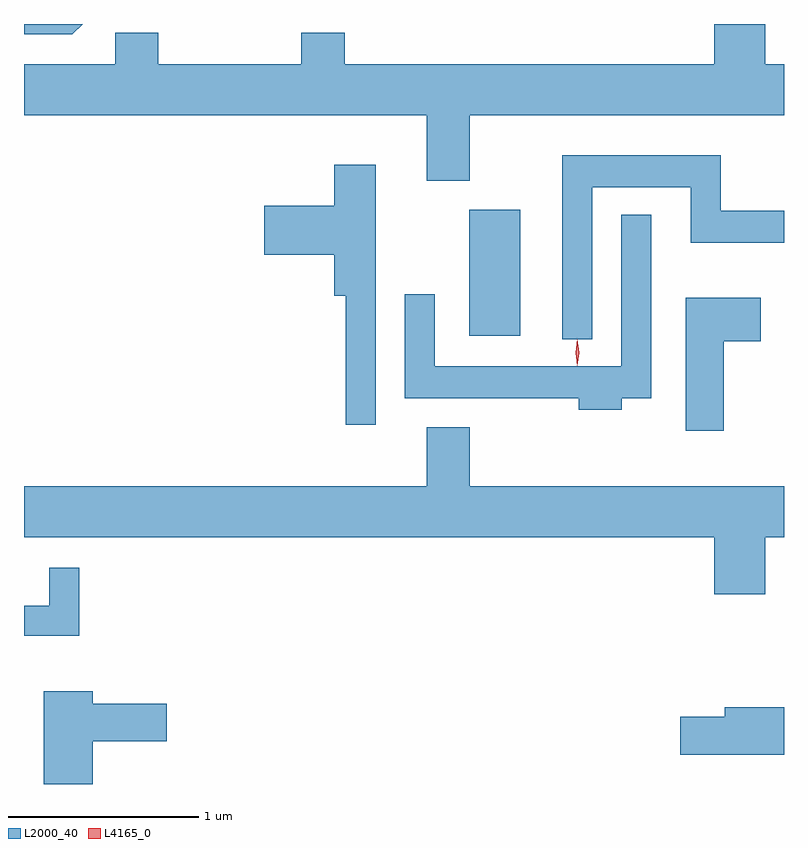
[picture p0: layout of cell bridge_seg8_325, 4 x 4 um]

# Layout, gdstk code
import gdstk
lib = gdstk.Library(unit=1e-6, precision=1e-09)
def R(c, l, rs):  # rectangles x0, y0, x1, y1
    for r in rs: c.add(gdstk.rectangle(r[:2], r[2:], *l))
def P(c, l, *ps):  # polygons
    for p in ps: c.add(gdstk.Polygon(p, *l))
L2000_40 = (2000, 40)
L4165_0 = (4165, 0)

bridge_seg8_325 = lib.new_cell('bridge_seg8_325')
R(bridge_seg8_325, L2000_40, [(873.126,1886.316,873.394,1886.979)])
P(bridge_seg8_325, L2000_40, [(873.129,1887.476),(874.782,1887.476),(874.782,1887.744),(874.684,1887.744),(874.684,1887.956),(874.416,1887.956),(874.416,1887.744),(872.469,1887.744),(872.469,1887.909),(872.241,1887.909),(872.241,1887.744),(871.489,1887.744),(871.489,1887.909),(871.261,1887.909),(871.261,1887.744),(870.782,1887.744),(870.782,1887.476),(872.901,1887.476),(872.901,1887.131),(873.129,1887.131)],
  [(871.092,1887.956),(870.782,1887.956),(870.782,1887.901),(871.037,1887.901)],
  [(873.774,1887.096),(874.291,1887.096),(874.291,1886.806),(874.782,1886.806),(874.782,1886.974),(874.449,1886.974),(874.449,1887.264),(873.616,1887.264),(873.616,1886.298),(873.774,1886.298)],
  [(872.634,1887.214),(872.416,1887.214),(872.416,1886.999),(872.046,1886.999),(872.046,1886.741),(872.416,1886.741),(872.416,1886.526),(872.476,1886.526),(872.476,1885.848),(872.634,1885.848)],
  [(873.929,1885.986),(874.084,1885.986),(874.084,1886.953),(873.926,1886.953),(873.926,1886.154),(872.944,1886.154),(872.944,1886.533),(872.786,1886.533),(872.786,1885.986),(873.701,1885.986),(873.701,1885.926),(873.929,1885.926)],
  [(874.464,1886.286),(874.659,1886.286),(874.659,1886.514),(874.266,1886.514),(874.266,1885.816),(874.464,1885.816)],
  [(874.684,1885.256),(874.782,1885.256),(874.782,1885.524),(873.129,1885.524),(873.129,1885.834),(872.901,1885.834),(872.901,1885.524),(870.782,1885.524),(870.782,1885.256),(874.416,1885.256),(874.416,1884.956),(874.684,1884.956)],
  [(871.074,1885.093),(870.916,1885.093),(870.916,1884.894),(870.782,1884.894),(870.782,1884.736),(871.074,1884.736)],
  [(871.144,1884.181),(871.534,1884.181),(871.534,1884.379),(871.144,1884.379),(871.144,1884.444),(870.886,1884.444),(870.886,1883.956),(871.144,1883.956)],
  [(874.782,1884.359),(874.471,1884.359),(874.471,1884.309),(874.236,1884.309),(874.236,1884.111),(874.782,1884.111)])
P(bridge_seg8_325, L4165_0, [(873.694,1886.157),(873.694,1886.158),(873.685,1886.227),(873.694,1886.296),(873.695,1886.296),(873.695,1886.296),(873.705,1886.227),(873.695,1886.158)],
  [(873.695,1886.159),(873.694,1886.16),(873.685,1886.226),(873.694,1886.292),(873.695,1886.293),(873.695,1886.292),(873.705,1886.226),(873.695,1886.16)])

lib.write_gds('bridge_seg8_325.gds')
